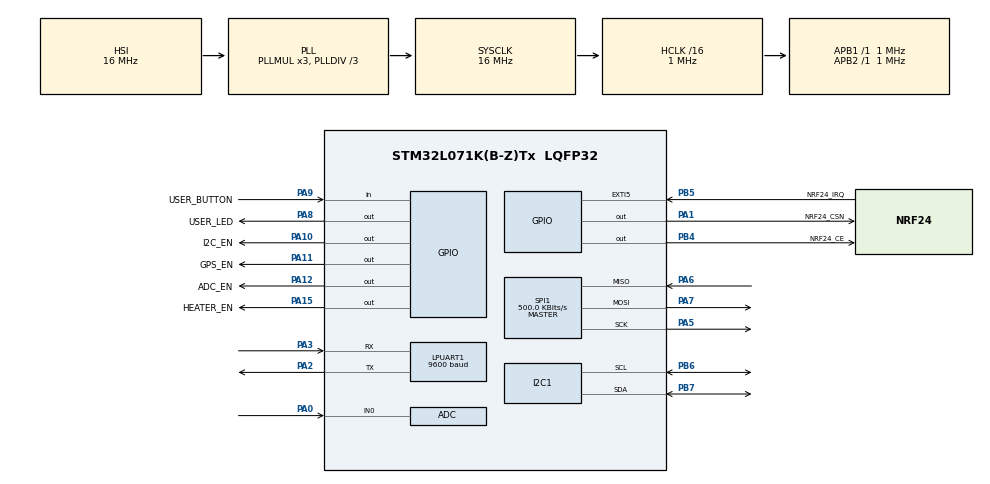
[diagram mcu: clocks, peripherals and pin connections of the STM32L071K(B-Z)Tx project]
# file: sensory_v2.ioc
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ADC.ClockPrescaler=ADC_CLOCK_SYNC_PCLK_DIV2
ADC.ContinuousConvMode=ENABLE
ADC.DMAContinuousRequests=ENABLE
ADC.SamplingTime=ADC_SAMPLETIME_160CYCLES_5
Dma.ADC.0.Direction=DMA_PERIPH_TO_MEMORY
Dma.ADC.0.Instance=DMA1_Channel1
Dma.ADC.0.MemDataAlignment=DMA_MDATAALIGN_WORD
Dma.ADC.0.MemInc=DMA_MINC_ENABLE
Dma.ADC.0.Mode=DMA_CIRCULAR
Dma.ADC.0.PeriphDataAlignment=DMA_PDATAALIGN_WORD
Dma.ADC.0.PeriphInc=DMA_PINC_DISABLE
Dma.ADC.0.Priority=DMA_PRIORITY_LOW
Dma.Request0=ADC
I2C1.Timing=0x00000103
LPUART1.BaudRate=9600
LPUART1.Mode=UART_MODE_TX_RX
LPUART1.OverrunDisableParam=UART_ADVFEATURE_OVERRUN_DISABLE
LPUART1.WordLength=UART_WORDLENGTH_8B
Mcu.Family=STM32L0
Mcu.Name=STM32L071K(B-Z)Tx
Mcu.Package=LQFP32
NVIC.DMA1_Channel1_IRQn=true\:0\:0\:false\:false\:true\:false\:true\:true
NVIC.EXTI4_15_IRQn=true\:0\:0\:false\:false\:true\:true\:true\:true
NVIC.LPUART1_IRQn=true\:0\:0\:false\:false\:true\:true\:true\:true
NVIC.TIM6_IRQn=true\:0\:0\:false\:false\:true\:true\:true\:true
PA0.Mode=IN0
PA0.Signal=ADC_IN0
PA1.GPIO_Label=NRF24_CSN
PA1.Signal=GPIO_Output
PA10.GPIO_Label=I2C_EN
PA10.PinState=GPIO_PIN_RESET
PA10.Signal=GPIO_Output
PA11.GPIO_Label=GPS_EN
PA11.PinState=GPIO_PIN_RESET
PA11.Signal=GPIO_Output
PA12.GPIO_Label=ADC_EN
PA12.PinState=GPIO_PIN_RESET
PA12.Signal=GPIO_Output
PA13.Mode=Serial_Wire
PA13.Signal=SYS_SWDIO
PA14.Mode=Serial_Wire
PA14.Signal=SYS_SWCLK
PA15.GPIO_Label=HEATER_EN
PA15.PinState=GPIO_PIN_RESET
PA15.Signal=GPIO_Output
PA2.Mode=Asynchronous
PA2.Signal=LPUART1_TX
PA3.Mode=Asynchronous
PA3.Signal=LPUART1_RX
PA5.Mode=Full_Duplex_Master
PA5.Signal=SPI1_SCK
PA6.Mode=Full_Duplex_Master
PA6.Signal=SPI1_MISO
PA7.Mode=Full_Duplex_Master
PA7.Signal=SPI1_MOSI
PA8.GPIO_Label=USER_LED
PA8.Signal=GPIO_Output
PA9.GPIO_Label=USER_BUTTON
PA9.Signal=GPIO_Input
PB4.GPIO_Label=NRF24_CE
PB4.Signal=GPIO_Output
PB5.GPIO_Label=NRF24_IRQ
PB5.Signal=GPXTI5
PB6.Mode=I2C
PB6.Signal=I2C1_SCL
PB7.Mode=I2C
PB7.Signal=I2C1_SDA
ProjectManager.HeapSize=0x200
ProjectManager.StackSize=0x400
ProjectManager.TargetToolchain=STM32CubeIDE
RCC.AHBCLKDivider=RCC_SYSCLK_DIV16
RCC.AHBFreq_Value=1000000
RCC.APB1Freq_Value=1000000
RCC.APB1TimFreq_Value=1000000
RCC.APB2Freq_Value=1000000
RCC.APB2TimFreq_Value=1000000
RCC.HCLKFreq_Value=1000000
RCC.HSI16_VALUE=16000000
RCC.HSI_VALUE=16000000
RCC.LSE_VALUE=32768
RCC.MSI_VALUE=2097000
RCC.PLLDIV=RCC_PLLDIV_3
RCC.SYSCLKFreq_VALUE=16000000
RCC.SYSCLKSource=RCC_SYSCLKSOURCE_PLLCLK
RCC.VCOOutputFreq_Value=48000000
SPI1.CalculateBaudRate=500.0 KBits/s
SPI1.Direction=SPI_DIRECTION_2LINES
SPI1.Mode=SPI_MODE_MASTER
SPI1.VirtualType=VM_MASTER
TIM6.Period=9999
TIM6.Prescaler=3199
VP_TIM6_VS_ClockSourceINT.Mode=Enable_Timer
board=custom

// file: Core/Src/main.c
/* USER CODE BEGIN Header */
/**
  ******************************************************************************
  * @file           : main.c
  * @brief          : Main program body
  ******************************************************************************
  * @attention
  *
  * Copyright (c) 2024 STMicroelectronics.
  * All rights reserved.
  *
  * This software is licensed under terms that can be found in the LICENSE file
  * in the root directory of this software component.
  * If no LICENSE file comes with this software, it is provided AS-IS.
  *
  ******************************************************************************
  */
/* USER CODE END Header */
#include "main.h"
#include "adc.h"
#include "dma.h"
#include "i2c.h"
#include "usart.h"
#include "spi.h"
#include "tim.h"
#include "gpio.h"

/* USER CODE BEGIN Includes */

#include <string.h>
#include <stdio.h>
#include <stdbool.h>
#include "AHT20.h"
#include <NEO6.h>
#include <nRF24.h>
#include "App/pv_app.h"
#include "App/pv_pulse.h"

// #include <debug.h>

/* USER CODE END Includes */

void SystemClock_Config(void);

/* USER CODE BEGIN 0 */

NEO6_State GpsState;

uint8_t MessageLength = 0;
uint8_t Message[255] = {0};
uint8_t pulse = 0;

volatile uint32_t HeartBeatValue;
volatile uint32_t HeartBeatArray[255] = {0};
volatile uint8_t HeartBeatIndex = 0;

void HAL_UART_RxCpltCallback(UART_HandleTypeDef *huart)
{
  if(huart == GpsState.neo6_huart)
  {
    NEO6_ReceiveUartChar(&GpsState);
  }
}

void HAL_TIM_PeriodElapsedCallback(TIM_HandleTypeDef *htim)
{
  if (htim == &htim6)
  {

  }
}

void HAL_ADC_ConvCpltCallback(ADC_HandleTypeDef* hadc)
{
	if(HeartBeatIndex > 254)
	{
		HeartBeatIndex = 0;
	}
	HeartBeatArray[HeartBeatIndex] = HeartBeatValue;
	HeartBeatIndex++;
}

/* USER CODE END 0 */

int main(void)
{

  /* MCU Configuration--------------------------------------------------------*/

  /* Reset of all peripherals, Initializes the Flash interface and the Systick. */
  HAL_Init();

  /* Configure the system clock */
  SystemClock_Config();

  /* Initialize all configured peripherals */
  MX_GPIO_Init();
  MX_DMA_Init();
  MX_ADC_Init();
  MX_I2C1_Init();
  MX_LPUART1_UART_Init();
  MX_SPI1_Init();
  MX_TIM6_Init();

  /* Infinite loop */
  /* USER CODE BEGIN WHILE */

//  AHT20_Init();
//  NEO6_Init(&GpsState, &hlpuart1);

  HAL_TIM_Base_Start_IT(&htim6);
  HAL_ADCEx_Calibration_Start(&hadc, ADC_SINGLE_ENDED);
  HAL_ADC_Start_DMA(&hadc, &HeartBeatValue, 2);

//  uint32_t Timer = HAL_GetTick();
  int pulse = 0;
  while (1)
  {

    /* USER CODE END WHILE */

    /* USER CODE BEGIN 3 */

//	AHT20_Read(&Temp, &Hum); // reads AHT20 measurements every second // timer nie działa więc jest tu
//	MessageLength = sprintf(Mess, "Temperature = %.1fC\n\r Hum = %.1f\n\r Heartrate = <TODO>\n\r", Temp, Hum);

	pulse = get_pulse((uint16_t*)HeartBeatArray, 255);
	MessageLength = sprintf(Message, "pulse = %d\n\r", pulse);
	HAL_UART_Transmit_IT(&hlpuart1, Message, MessageLength);

	HAL_Delay(100);

//	 pv_run();

	//////////////////// GPS ////////////////////

  }
  /* USER CODE END 3 */
}

void SystemClock_Config(void)
{
  RCC_OscInitTypeDef RCC_OscInitStruct = {0};
  RCC_ClkInitTypeDef RCC_ClkInitStruct = {0};
  RCC_PeriphCLKInitTypeDef PeriphClkInit = {0};

  /** Configure the main internal regulator output voltage
  */
  __HAL_PWR_VOLTAGESCALING_CONFIG(PWR_REGULATOR_VOLTAGE_SCALE1);

  /** Initializes the RCC Oscillators according to the specified parameters
  * in the RCC_OscInitTypeDef structure.
  */
  RCC_OscInitStruct.OscillatorType = RCC_OSCILLATORTYPE_HSI;
  RCC_OscInitStruct.HSIState = RCC_HSI_ON;
  RCC_OscInitStruct.HSICalibrationValue = RCC_HSICALIBRATION_DEFAULT;
  RCC_OscInitStruct.PLL.PLLState = RCC_PLL_ON;
  RCC_OscInitStruct.PLL.PLLSource = RCC_PLLSOURCE_HSI;
  RCC_OscInitStruct.PLL.PLLMUL = RCC_PLLMUL_3;
  RCC_OscInitStruct.PLL.PLLDIV = RCC_PLLDIV_3;
  if (HAL_RCC_OscConfig(&RCC_OscInitStruct) != HAL_OK)
  {
    Error_Handler();
  }

  /** Initializes the CPU, AHB and APB buses clocks
  */
  RCC_ClkInitStruct.ClockType = RCC_CLOCKTYPE_HCLK|RCC_CLOCKTYPE_SYSCLK
                              |RCC_CLOCKTYPE_PCLK1|RCC_CLOCKTYPE_PCLK2;
  RCC_ClkInitStruct.SYSCLKSource = RCC_SYSCLKSOURCE_PLLCLK;
  RCC_ClkInitStruct.AHBCLKDivider = RCC_SYSCLK_DIV16;
  RCC_ClkInitStruct.APB1CLKDivider = RCC_HCLK_DIV1;
  RCC_ClkInitStruct.APB2CLKDivider = RCC_HCLK_DIV1;

  if (HAL_RCC_ClockConfig(&RCC_ClkInitStruct, FLASH_LATENCY_0) != HAL_OK)
  {
    Error_Handler();
  }
  PeriphClkInit.PeriphClockSelection = RCC_PERIPHCLK_LPUART1|RCC_PERIPHCLK_I2C1;
  PeriphClkInit.Lpuart1ClockSelection = RCC_LPUART1CLKSOURCE_PCLK1;
  PeriphClkInit.I2c1ClockSelection = RCC_I2C1CLKSOURCE_PCLK1;
  if (HAL_RCCEx_PeriphCLKConfig(&PeriphClkInit) != HAL_OK)
  {
    Error_Handler();
  }
}

void Error_Handler(void)
{
  __disable_irq();
  while (1)
  {
  }
}
